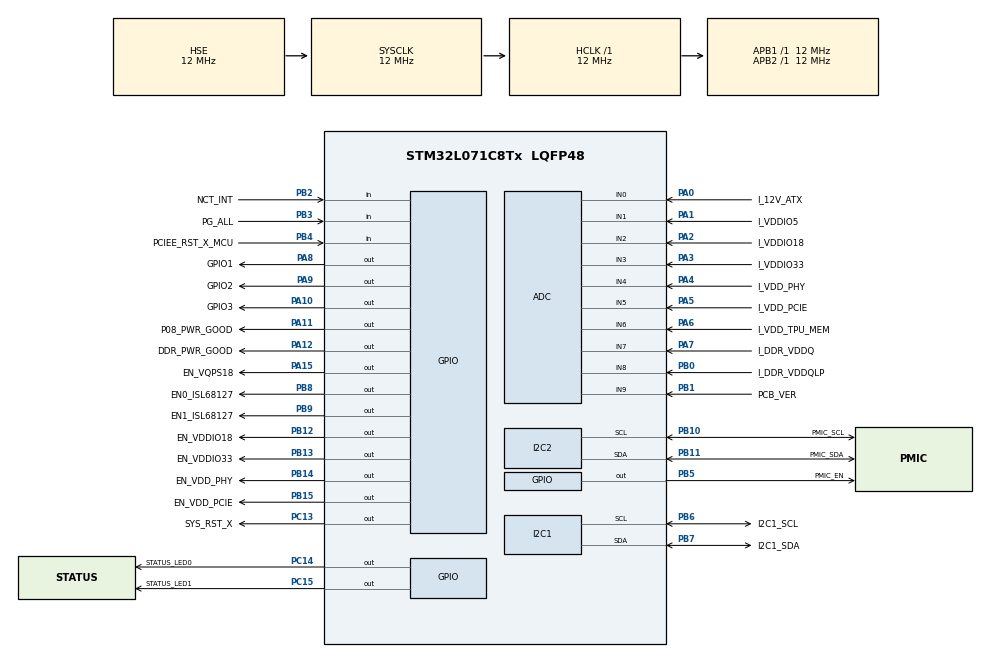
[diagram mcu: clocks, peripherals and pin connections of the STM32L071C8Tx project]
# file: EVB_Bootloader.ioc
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I2C1.DualAddressMode=I2C_DUALADDRESS_DISABLE
I2C1.OwnAddress=0x17
I2C1.Timing=0x40000A0B
I2C2.Timing=0x40000A0B
LPTIM1.ClockPrescaler=LPTIM_PRESCALER_DIV128
Mcu.Family=STM32L0
Mcu.Name=STM32L071C8Tx
Mcu.Package=LQFP48
NVIC.I2C1_IRQn=true\:0\:0\:false\:false\:true\:true\:true
NVIC.LPTIM1_IRQn=true\:0\:0\:false\:false\:true\:true\:true
PA0.GPIO_Label=I_12V_ATX
PA0.Mode=IN0
PA0.Signal=ADC_IN0
PA1.GPIO_Label=I_VDDIO5
PA1.Mode=IN1
PA1.Signal=ADC_IN1
PA10.GPIO_Label=GPIO3
PA10.GPIO_PuPd=GPIO_PULLDOWN
PA10.Signal=GPIO_Output
PA11.GPIO_Label=P08_PWR_GOOD
PA11.GPIO_PuPd=GPIO_PULLDOWN
PA11.Signal=GPIO_Output
PA12.GPIO_Label=DDR_PWR_GOOD
PA12.GPIO_PuPd=GPIO_PULLDOWN
PA12.Signal=GPIO_Output
PA13.Mode=Serial_Wire
PA13.Signal=SYS_SWDIO
PA14.Mode=Serial_Wire
PA14.Signal=SYS_SWCLK
PA15.GPIO_Label=EN_VQPS18
PA15.GPIO_PuPd=GPIO_PULLDOWN
PA15.Signal=GPIO_Output
PA2.GPIO_Label=I_VDDIO18
PA2.Mode=IN2
PA2.Signal=ADC_IN2
PA3.GPIO_Label=I_VDDIO33
PA3.Mode=IN3
PA3.Signal=ADC_IN3
PA4.GPIO_Label=I_VDD_PHY
PA4.Mode=IN4
PA4.Signal=ADC_IN4
PA5.GPIO_Label=I_VDD_PCIE
PA5.Mode=IN5
PA5.Signal=ADC_IN5
PA6.GPIO_Label=I_VDD_TPU_MEM
PA6.Mode=IN6
PA6.Signal=ADC_IN6
PA7.GPIO_Label=I_DDR_VDDQ
PA7.Mode=IN7
PA7.Signal=ADC_IN7
PA8.GPIO_Label=GPIO1
PA8.GPIO_PuPd=GPIO_PULLDOWN
PA8.Signal=GPIO_Output
PA9.GPIO_Label=GPIO2
PA9.GPIO_PuPd=GPIO_PULLDOWN
PA9.Signal=GPIO_Output
PB0.GPIO_Label=I_DDR_VDDQLP
PB0.Mode=IN8
PB0.Signal=ADC_IN8
PB1.GPIO_Label=PCB_VER
PB1.Mode=IN9
PB1.Signal=ADC_IN9
PB10.GPIO_Label=PMIC_SCL
PB10.Mode=I2C
PB10.Signal=I2C2_SCL
PB11.GPIO_Label=PMIC_SDA
PB11.Mode=I2C
PB11.Signal=I2C2_SDA
PB12.GPIO_Label=EN_VDDIO18
PB12.GPIO_PuPd=GPIO_PULLDOWN
PB12.Signal=GPIO_Output
PB13.GPIO_Label=EN_VDDIO33
PB13.GPIO_PuPd=GPIO_PULLDOWN
PB13.Signal=GPIO_Output
PB14.GPIO_Label=EN_VDD_PHY
PB14.GPIO_PuPd=GPIO_PULLDOWN
PB14.Signal=GPIO_Output
PB15.GPIO_Label=EN_VDD_PCIE
PB15.GPIO_PuPd=GPIO_PULLDOWN
PB15.Signal=GPIO_Output
PB2.GPIO_Label=NCT_INT
PB2.GPIO_PuPd=GPIO_NOPULL
PB2.Signal=GPIO_Input
PB3.GPIO_Label=PG_ALL
PB3.GPIO_PuPd=GPIO_NOPULL
PB3.Signal=GPIO_Input
PB4.GPIO_Label=PCIEE_RST_X_MCU
PB4.GPIO_PuPd=GPIO_PULLUP
PB4.Signal=GPIO_Input
PB5.GPIO_Label=PMIC_EN
PB5.GPIO_PuPd=GPIO_PULLDOWN
PB5.Signal=GPIO_Output
PB6.GPIO_Label=I2C1_SCL
PB6.GPIO_Speed=GPIO_SPEED_FREQ_VERY_HIGH
PB6.Mode=I2C
PB6.Signal=I2C1_SCL
PB7.GPIO_Label=I2C1_SDA
PB7.GPIO_Speed=GPIO_SPEED_FREQ_VERY_HIGH
PB7.Mode=I2C
PB7.Signal=I2C1_SDA
PB8.GPIO_Label=EN0_ISL68127
PB8.GPIO_PuPd=GPIO_PULLDOWN
PB8.Signal=GPIO_Output
PB9.GPIO_Label=EN1_ISL68127
PB9.GPIO_PuPd=GPIO_PULLDOWN
PB9.Signal=GPIO_Output
PC13.GPIO_Label=SYS_RST_X
PC13.GPIO_PuPd=GPIO_NOPULL
PC13.Signal=GPIO_Output
PC14-OSC32_IN.GPIO_Label=STATUS_LED0
PC14-OSC32_IN.GPIO_PuPd=GPIO_PULLUP
PC14-OSC32_IN.Signal=GPIO_Output
PC15-OSC32_OUT.GPIO_Label=STATUS_LED1
PC15-OSC32_OUT.GPIO_PuPd=GPIO_PULLUP
PC15-OSC32_OUT.Signal=GPIO_Output
PH0-OSC_IN.Mode=HSE-External-Oscillator
PH0-OSC_IN.Signal=RCC_OSC_IN
PH1-OSC_OUT.Mode=HSE-External-Oscillator
PH1-OSC_OUT.Signal=RCC_OSC_OUT
ProjectManager.HeapSize=0x200
ProjectManager.StackSize=0x400
ProjectManager.TargetToolchain=TrueSTUDIO
RCC.AHBFreq_Value=12000000
RCC.APB1Freq_Value=12000000
RCC.APB1TimFreq_Value=12000000
RCC.APB2Freq_Value=12000000
RCC.APB2TimFreq_Value=12000000
RCC.HCLKFreq_Value=12000000
RCC.HSE_VALUE=12000000
RCC.HSI16_VALUE=16000000
RCC.HSI_VALUE=16000000
RCC.LSE_VALUE=32768
RCC.LptimClockSelection=RCC_LPTIM1CLKSOURCE_LSI
RCC.MSI_VALUE=2097000
RCC.SYSCLKFreq_VALUE=12000000
RCC.SYSCLKSource=RCC_SYSCLKSOURCE_HSE
RCC.VCOOutputFreq_Value=48000000
VP_LPTIM1_VS_LPTIM_counterModeInternalClock.Mode=Counts__internal_clock_event_00
VP_RTC_VS_RTC_Activate.Mode=RTC_Enabled
board=custom

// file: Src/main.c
/* USER CODE BEGIN Header */
/**
  ******************************************************************************
  * @file           : main.c
  * @brief          : Main program body
  ******************************************************************************
  * @attention
  *
  * <h2><center>&copy; Copyright (c) 2019 STMicroelectronics.
  * All rights reserved.</center></h2>
  *
  * This software component is licensed by ST under BSD 3-Clause license,
  * the "License"; You may not use this file except in compliance with the
  * License. You may obtain a copy of the License at:
  *                        opensource.org/licenses/BSD-3-Clause
  *
  ******************************************************************************
  */
/* USER CODE END Header */

#include "main.h"
#include "adc.h"
#include "i2c.h"
#include "lptim.h"
#include "rtc.h"
#include "gpio.h"

/* USER CODE BEGIN Includes */
#include "eeprom.h"
#include "flash_if.h"
#include "i2c_slave.h"
/* USER CODE END Includes */

void SystemClock_Config(void);

/* USER CODE BEGIN 0 */
void HAL_Delay(uint32_t Delay)
{
  uint32_t tickstart = HAL_GetTick();
  uint32_t wait = Delay;

  /* Add a period to guaranty minimum wait */
//  if (wait < HAL_MAX_DELAY_BM)
//  {
//    wait++;
//  }

  while((HAL_GetTick() - tickstart) < wait)
  {
  }
}

#define APPLICATION_ADDRESS 0x8008000

#define EEPROM_BASE 0x08080c00

/* Private variables ---------------------------------------------------------*/
typedef  void (*pFunction)(void);

pFunction JumpToApplication;
uint32_t JumpAddress;

#define PMIC_ADDR 0x3c

#define IO_MODECTRL			0x24
#define BUCK1_VOUTFBDIV		0x3B
#define BUCK1_DVS0CFG1		0x48
#define BUCK1_DVS0CFG0		0x49
#define BUCK1_DVSSEL		0x53
#define BUCK1_EN_DLY		0x56
#define BUCK2_VOUTFBDIV		0x58
#define BUCK2_DVS0CFG1		0x62
#define BUCK2_DVS0CFG0		0x63
#define BUCK3_VOUTFBDIV		0x72
#define BUCK3_DVS0CFG1		0x7C
#define BUCK3_DVS0CFG0		0x7D
#define BUCK4_VOUTFBDIV		0x8c
#define BUCK4_DVS0CFG1		0x96
#define BUCK4_DVS0CFG0 		0x97

uint8_t val;
uint8_t origin_val;
uint8_t chk_val;

void clean_pmic(void)
{
	val = 0;
	HAL_I2C_Mem_Write(&hi2c2,PMIC_ADDR, IO_MODECTRL,1, &val, 1, 1000);// 1.2v
	HAL_I2C_Mem_Write(&hi2c2,PMIC_ADDR, BUCK1_VOUTFBDIV,1, &val, 1, 1000);// 1.2v
	HAL_I2C_Mem_Write(&hi2c2,PMIC_ADDR, BUCK2_VOUTFBDIV,1, &val, 1, 1000);// 1.2v
	HAL_I2C_Mem_Write(&hi2c2,PMIC_ADDR, BUCK3_VOUTFBDIV,1, &val, 1, 1000);// 1.2v
	HAL_I2C_Mem_Write(&hi2c2,PMIC_ADDR, BUCK4_VOUTFBDIV,1, &val, 1, 1000);// 1.2v
	HAL_I2C_Mem_Write(&hi2c2,PMIC_ADDR, BUCK1_DVS0CFG1,1, &val, 2, 1000);// LDO1V_IN
	HAL_I2C_Mem_Write(&hi2c2,PMIC_ADDR, BUCK2_DVS0CFG1,1, &val, 2, 1000);//DDR_VDDQ 1.1v
	HAL_I2C_Mem_Write(&hi2c2,PMIC_ADDR, BUCK3_DVS0CFG1,1, &val, 2, 1000);//DDR*_DDR_VDDQLP 1.1v
	HAL_I2C_Mem_Write(&hi2c2,PMIC_ADDR, BUCK4_DVS0CFG1,1, &val, 2, 1000);//DDR*_DDR_VDD_TPU_MEM 0.7v
}

void PowerON(void)
{
	clean_pmic();
	HAL_Delay(100);

	HAL_GPIO_WritePin(PMIC_EN_GPIO_Port, PMIC_EN_Pin, GPIO_PIN_SET);

	val = 0;
	HAL_I2C_Mem_Write(&hi2c2,PMIC_ADDR, BUCK1_VOUTFBDIV,1, &val, 1, 1000);// 1.2v
	HAL_I2C_Mem_Write(&hi2c2,PMIC_ADDR, BUCK2_VOUTFBDIV,1, &val, 1, 1000);// 1.2v
	HAL_I2C_Mem_Write(&hi2c2,PMIC_ADDR, BUCK3_VOUTFBDIV,1, &val, 1, 1000);// 1.2v
	HAL_I2C_Mem_Write(&hi2c2,PMIC_ADDR, BUCK4_VOUTFBDIV,1, &val, 1, 1000);// 1.2v

	val = 0xF5;
	HAL_I2C_Mem_Write(&hi2c2,PMIC_ADDR, IO_MODECTRL,1, &val, 1, 1000);// 1.2v

	HAL_Delay(30);
	HAL_GPIO_WritePin(GPIOB, EN_VDDIO18_Pin, GPIO_PIN_SET);
	HAL_Delay(1);
	HAL_GPIO_WritePin(GPIOB, EN1_ISL68127_Pin, GPIO_PIN_SET);
	HAL_Delay(1);
	HAL_GPIO_WritePin(GPIOB, EN_VDDIO33_Pin, GPIO_PIN_SET);
	HAL_Delay(1);

	//LDOIN_1V 0.8V
	origin_val = val = 0x6b;
	HAL_I2C_Mem_Write(&hi2c2,PMIC_ADDR, BUCK1_DVS0CFG1,1, &val, 2, 1000);// LDO1V_IN 0.8V
	HAL_I2C_Mem_Read(&hi2c2,PMIC_ADDR, BUCK1_DVS0CFG1,1, (uint8_t *)&chk_val, 2, 1000);// LDO1V_IN 0.8V
	if (chk_val != origin_val)
		HAL_I2C_Mem_Write(&hi2c2,PMIC_ADDR, BUCK1_DVS0CFG1,1, &val, 2, 1000);// LDO1V_IN 0.8V
	HAL_Delay(1);

	HAL_GPIO_WritePin(GPIOA, P08_PWR_GOOD_Pin, GPIO_PIN_SET);
	HAL_Delay(1);
	HAL_GPIO_WritePin(GPIOA, GPIO2_Pin, GPIO_PIN_SET);//EN_PHY
	HAL_Delay(1);
	HAL_GPIO_WritePin(GPIOB, EN0_ISL68127_Pin, GPIO_PIN_SET);
	HAL_Delay(1);
	HAL_GPIO_WritePin(GPIOA, GPIO3_Pin, GPIO_PIN_SET);
	HAL_Delay(1);

	//DDR_VDDQ
	origin_val = val = 0x8a;
	HAL_I2C_Mem_Write(&hi2c2,PMIC_ADDR, BUCK2_DVS0CFG1,1, &val, 2, 1000);//DDR_VDDQ 1.1v
	HAL_I2C_Mem_Read(&hi2c2,PMIC_ADDR, BUCK2_DVS0CFG1,1, (uint8_t *)&chk_val, 2, 1000);//DDR_VDDQ 1.1v
	if (chk_val != origin_val)
		HAL_I2C_Mem_Write(&hi2c2,PMIC_ADDR, BUCK2_DVS0CFG1,1, &val, 2, 1000);//DDR_VDDQ 1.1v
	HAL_Delay(1);

	//DDR_VDDQLP
#if 1
	origin_val = val = 0x4b;//1.8ms
	HAL_I2C_Mem_Write(&hi2c2,PMIC_ADDR, BUCK3_DVS0CFG1,1, &val, 2, 1000);//DDR*_DDR_VDDQLP 0.6v
	HAL_I2C_Mem_Read(&hi2c2,PMIC_ADDR, BUCK3_DVS0CFG1,1, (uint8_t *)&chk_val, 2, 1000);//DDR*_DDR_VDDQLP 0.6v
	if (chk_val != origin_val)
		HAL_I2C_Mem_Write(&hi2c2,PMIC_ADDR, BUCK3_DVS0CFG1,1, &val, 2, 1000);//DDR*_DDR_VDDQLP 0.6v
//	i2c_regs.ddr = 0;
	reg[21] = 0;
#else
	origin_val = val = 0x89;//1.8ms
	HAL_I2C_Mem_Write(&hi2c2,PMIC_ADDR, BUCK3_DVS0CFG1,1, &val, 2, 1000);//DDR*_DDR_VDDQLP 1.1v
	HAL_I2C_Mem_Read(&hi2c2,PMIC_ADDR, BUCK3_DVS0CFG1,1, (uint8_t *)&chk_val, 2, 1000);//DDR*_DDR_VDDQLP 1.1v
	if (chk_val != origin_val)
		HAL_I2C_Mem_Write(&hi2c2,PMIC_ADDR, BUCK3_DVS0CFG1,1, &val, 2, 1000);//DDR*_DDR_VDDQLP 1.1v
//	i2c_regs.ddr = 1;
	reg[21] = 1;
#endif

	//VDD_TPU_MEM
	HAL_Delay(1);
	origin_val = val = 0x58;
	HAL_I2C_Mem_Write(&hi2c2,PMIC_ADDR, BUCK4_DVS0CFG1,1, &val, 2, 1000);//VDD_TPU_MEM 0.7v
	HAL_I2C_Mem_Read(&hi2c2,PMIC_ADDR, BUCK4_DVS0CFG1,1, (uint8_t *)&chk_val, 2, 1000);//VDD_TPU_MEM 0.7v
	if (chk_val != origin_val)
		HAL_I2C_Mem_Write(&hi2c2,PMIC_ADDR, BUCK4_DVS0CFG1,1, &val, 2, 1000);//DDR_VDDQ 0.7v
	HAL_Delay(1);

	HAL_Delay(1);
	HAL_GPIO_WritePin(GPIOA, GPIO1_Pin, GPIO_PIN_SET);
	HAL_Delay(1);//2.7ms
	HAL_GPIO_WritePin(GPIOA, EN_VQPS18_Pin, GPIO_PIN_SET);
	//delay 30ms until power good and can detect SYS_RST signal
	HAL_Delay(30);
	HAL_GPIO_WritePin(GPIOC, SYS_RST_X_Pin, GPIO_PIN_SET);
	HAL_Delay(30);
	HAL_GPIO_WritePin(GPIOA, DDR_PWR_GOOD_Pin, GPIO_PIN_SET);

//	i2c_regs.cmd_reg  = 0;
}

void PowerDOWN(void)
{
	clean_pmic();
	HAL_Delay(100);

	HAL_GPIO_WritePin(GPIOA, DDR_PWR_GOOD_Pin, GPIO_PIN_RESET);
	HAL_Delay(1);
	HAL_GPIO_WritePin(GPIOC, SYS_RST_X_Pin, GPIO_PIN_RESET);
	HAL_Delay(1);
	HAL_GPIO_WritePin(GPIOA, EN_VQPS18_Pin, GPIO_PIN_RESET);
	HAL_Delay(1);
	HAL_GPIO_WritePin(GPIOA, GPIO1_Pin, GPIO_PIN_RESET);
	HAL_Delay(1);
	HAL_GPIO_WritePin(GPIOA, GPIO3_Pin, GPIO_PIN_RESET);
	HAL_Delay(1);
	HAL_GPIO_WritePin(GPIOB, EN0_ISL68127_Pin, GPIO_PIN_RESET);
	HAL_Delay(1);
	HAL_GPIO_WritePin(GPIOB, EN_VDD_PCIE_Pin, GPIO_PIN_RESET);
	HAL_Delay(1);
	HAL_GPIO_WritePin(GPIOA, P08_PWR_GOOD_Pin, GPIO_PIN_RESET);
	HAL_Delay(1);
	HAL_GPIO_WritePin(GPIOB, EN_VDD_PHY_Pin, GPIO_PIN_RESET);//EN_PHY
	HAL_Delay(1);
	HAL_GPIO_WritePin(GPIOB, EN_VDDIO33_Pin, GPIO_PIN_RESET);
	HAL_Delay(1);
	HAL_GPIO_WritePin(GPIOB, EN1_ISL68127_Pin, GPIO_PIN_RESET);
	HAL_Delay(1);
	HAL_GPIO_WritePin(GPIOB, EN_VDDIO18_Pin, GPIO_PIN_RESET);
	HAL_Delay(1);
	HAL_I2C_Mem_Write(&hi2c2,PMIC_ADDR, BUCK1_DVS0CFG1,1, &val, 2, 1000);// LDO1V_IN
	HAL_Delay(1);

//	i2c_regs.cmd_reg  = 0;
}

uint32_t eeprom_addr = 0xBF0;

volatile uint8_t reg[MAX_REG_SIZE] = { 0x00,2,0,0,0,0,0,0, \
									0,0,0,0,0,0,0,0, \
									0,0,0,0,0,0,0,0, \
									0,0,0,0,0,0,0,0};

void Set_HW_Ver(void)
{
	  uint8_t i;
	  int ADC_Buf[10];

	  for (i = 0; i < 10; i++) {
		  HAL_ADC_Start(&hadc);
		  HAL_ADC_PollForConversion(&hadc, 10);

		  if(HAL_IS_BIT_SET(HAL_ADC_GetState(&hadc), HAL_ADC_STATE_REG_EOC)) {
			  ADC_Buf[i] = HAL_ADC_GetValue(&hadc);
		  }
	  }

	  switch(ADC_Buf[9]) {
	  case 100 ... 400:
	  	  reg[2] = 0;
	  	  break;
	  case 500 ... 900:
	  	  reg[2] = 1;
	  	  break;
	  case 1000 ... 1300:
	  	  reg[2] = 2;
	  	  break;
	  case 1400 ... 1900:
	  	  reg[2] = 3;
	  	  break;
	  case 1950 ... 2200:
	  	  reg[2] = 4;
  	  	  break;
	  case 2250 ... 2700:
	  	  reg[2] = 5;
	  	  break;
	  case 2750 ... 3000:
	  	  reg[2] = 6;
	  	  break;
	  case 3100 ... 3600:
	  	  reg[2] = 7;
	  	  break;
	  case 3650 ... 4000:
	  	  reg[2] = 8;
	  	  break;
	  }

	  HAL_ADC_Stop(&hadc);
}
/* USER CODE END 0 */

int main(void)
{

  /* MCU Configuration--------------------------------------------------------*/

  /* Reset of all peripherals, Initializes the Flash interface and the Systick. */
  HAL_Init();

  /* Configure the system clock */
  SystemClock_Config();

  /* Initialize all configured peripherals */
  MX_GPIO_Init();
  MX_ADC_Init();
  MX_I2C1_Init();
  MX_I2C2_Init();
  MX_LPTIM1_Init();
  MX_RTC_Init();
  /* USER CODE BEGIN 2 */

  I2C_SlaveInit(&hi2c1, (uint8_t *)reg, MAX_REG_SIZE);

  HAL_ADCEx_Calibration_Start(&hadc, ADC_SINGLE_ENDED);

  Set_HW_Ver();

  uint8_t Buffer;
//  EEPROM_WriteBytes(addr, &Buffer, 1);
  EEPROM_ReadBytes(eeprom_addr, &Buffer, 1);

//#if debug
  if (Buffer == 8) {
	  PowerON();

	  while(1) {
		  if (reg[7] == 1){
//			  PowerDOWN();
			  Buffer = 0;
			  EEPROM_WriteBytes(eeprom_addr, &Buffer, 1);
			  break;
		  }
	  }
  }
  /* Test if user code is programmed starting from address "APPLICATION_ADDRESS" */
  if (((*(__IO uint32_t*)APPLICATION_ADDRESS) & 0x2FFE0000 ) == 0x20000000) {
    /* Jump to user application */
    JumpAddress = *(__IO uint32_t*) (APPLICATION_ADDRESS + 4);
    JumpToApplication = (pFunction) JumpAddress;
    /* Initialize user application's Stack Pointer */
    __set_MSP(*(__IO uint32_t*) APPLICATION_ADDRESS);
    JumpToApplication();
  }
  /* USER CODE END 2 */

  /* Infinite loop */
  while (1)
  {

  }
}

void SystemClock_Config(void)
{
  RCC_OscInitTypeDef RCC_OscInitStruct = {0};
  RCC_ClkInitTypeDef RCC_ClkInitStruct = {0};
  RCC_PeriphCLKInitTypeDef PeriphClkInit = {0};

  /** Configure the main internal regulator output voltage
  */
  __HAL_PWR_VOLTAGESCALING_CONFIG(PWR_REGULATOR_VOLTAGE_SCALE1);
  /** Initializes the CPU, AHB and APB busses clocks
  */
  RCC_OscInitStruct.OscillatorType = RCC_OSCILLATORTYPE_LSI|RCC_OSCILLATORTYPE_HSE;
  RCC_OscInitStruct.HSEState = RCC_HSE_ON;
  RCC_OscInitStruct.LSIState = RCC_LSI_ON;
  RCC_OscInitStruct.PLL.PLLState = RCC_PLL_NONE;
  if (HAL_RCC_OscConfig(&RCC_OscInitStruct) != HAL_OK)
  {
    Error_Handler();
  }
  /** Initializes the CPU, AHB and APB busses clocks
  */
  RCC_ClkInitStruct.ClockType = RCC_CLOCKTYPE_HCLK|RCC_CLOCKTYPE_SYSCLK
                              |RCC_CLOCKTYPE_PCLK1|RCC_CLOCKTYPE_PCLK2;
  RCC_ClkInitStruct.SYSCLKSource = RCC_SYSCLKSOURCE_HSE;
  RCC_ClkInitStruct.AHBCLKDivider = RCC_SYSCLK_DIV1;
  RCC_ClkInitStruct.APB1CLKDivider = RCC_HCLK_DIV1;
  RCC_ClkInitStruct.APB2CLKDivider = RCC_HCLK_DIV1;

  if (HAL_RCC_ClockConfig(&RCC_ClkInitStruct, FLASH_LATENCY_0) != HAL_OK)
  {
    Error_Handler();
  }
  PeriphClkInit.PeriphClockSelection = RCC_PERIPHCLK_I2C1|RCC_PERIPHCLK_RTC
                              |RCC_PERIPHCLK_LPTIM1;
  PeriphClkInit.I2c1ClockSelection = RCC_I2C1CLKSOURCE_PCLK1;
  PeriphClkInit.RTCClockSelection = RCC_RTCCLKSOURCE_LSI;
  PeriphClkInit.LptimClockSelection = RCC_LPTIM1CLKSOURCE_LSI;

  if (HAL_RCCEx_PeriphCLKConfig(&PeriphClkInit) != HAL_OK)
  {
    Error_Handler();
  }
}

void Error_Handler(void)
{
}

/************************ (C) COPYRIGHT STMicroelectronics *****END OF FILE****/
